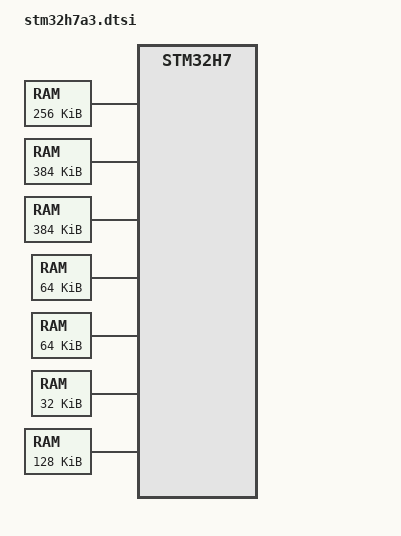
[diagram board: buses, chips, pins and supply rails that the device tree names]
/*
 * Copyright (c) 2021 Electrolance Solutions
 *
 * SPDX-License-Identifier: Apache-2.0
 */

#include <st/h7/stm32h7.dtsi>

/ {
	soc {
		flash-controller@52002000 {
			flash0: flash@8000000 {
				write-block-size = <32>;
				erase-block-size = <DT_SIZE_K(128)>;
			};
		};

		dmamux1: dmamux@40020800 {
			dma-requests= <107>;
		};

	};

	/* System data RAM accessible over AXI bus: AXI SRAM1 in CD domain */
	sram0: memory@24000000 {
		reg = <0x24000000 DT_SIZE_K(256)>;
		compatible = "mmio-sram";
	};

	/* System data RAM accessible over AXI bus: AXI SRAM1 in CD domain */
	sram1: memory@24040000 {
		reg = <0x24040000 DT_SIZE_K(384)>;
		compatible = "mmio-sram";
	};

	/* System data RAM accessible over AXI bus: AXI SRAM1 in CD domain */
	sram2: memory@240A0000 {
		compatible = "mmio-sram";
		reg = <0x240A0000 DT_SIZE_K(384)>;
	};

	/* System data RAM accessible over AHB bus: SRAM1 in CD domain */
	sram3: memory@30000000 {
		compatible = "mmio-sram";
		reg = <0x30000000 DT_SIZE_K(64)>;
	};

	/* System data RAM accessible over AHB bus: SRAM2 in CD domain  */
	sram4: memory@30010000 {
		reg = <0x30010000 DT_SIZE_K(64)>;
		compatible = "mmio-sram";
	};

	/* System data RAM accessible over AHB bus: SRD SRAM in SRD domain  */
	sram5: memory@38000000 {
		reg = <0x38000000 DT_SIZE_K(32)>;
		compatible = "mmio-sram";
	};

	dtcm: memory@20000000 {
		compatible = "arm,dtcm";
		reg = <0x20000000 DT_SIZE_K(128)>;
	};

};
